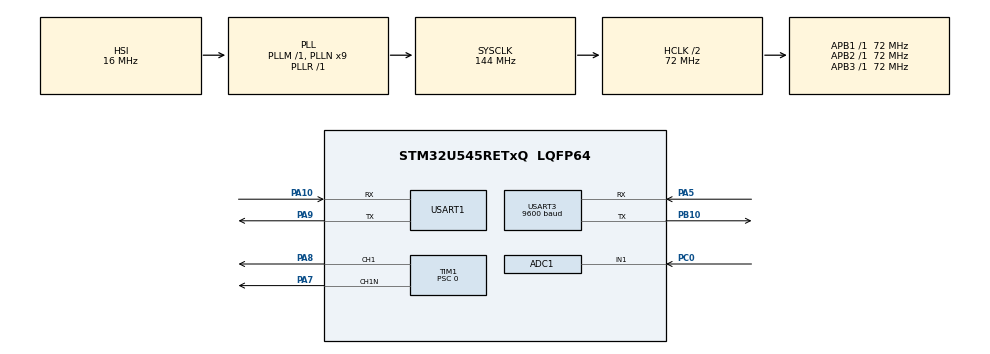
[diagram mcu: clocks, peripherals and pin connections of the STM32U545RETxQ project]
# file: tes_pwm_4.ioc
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ADC1.Channel-0\#ChannelRegularConversion=ADC_CHANNEL_2
ADC1.MonitoredBy-0\#ChannelRegularConversion=__NULL
ADC1.NbrOfConversionFlag=1
ADC1.OffsetNumber-0\#ChannelRegularConversion=ADC_OFFSET_NONE
ADC1.Rank-0\#ChannelRegularConversion=1
ADC1.Resolution=ADC_RESOLUTION_12B
ADC1.SamplingTime-0\#ChannelRegularConversion=ADC_SAMPLETIME_68CYCLES
ADC1.master=1
CORTEX_M33_NS.MPU_Control=__NULL
CORTEX_M33_NS.userName=CORTEX_M33
Mcu.Family=STM32U5
Mcu.Name=STM32U545RETxQ
Mcu.Package=LQFP64
NVIC.PriorityGroup=NVIC_PRIORITYGROUP_4
NVIC.USART1_IRQn=true\:0\:0\:false\:false\:true\:true\:true\:true
NVIC.USART3_IRQn=true\:0\:0\:false\:false\:true\:true\:true\:true
PA10.Mode=Asynchronous
PA10.Signal=USART1_RX
PA13\ (JTMS/SWDIO).Mode=Serial_Wire
PA13\ (JTMS/SWDIO).Signal=DEBUG_JTMS-SWDIO
PA14\ (JTCK/SWCLK).Mode=Serial_Wire
PA14\ (JTCK/SWCLK).Signal=DEBUG_JTCK-SWCLK
PA5.Mode=Asynchronous
PA5.Signal=USART3_RX
PA7.Mode=PWM Generation1 CH1 CH1N
PA7.Signal=TIM1_CH1N
PA8.Signal=S_TIM1_CH1
PA9.Mode=Asynchronous
PA9.Signal=USART1_TX
PB10.Mode=Asynchronous
PB10.Signal=USART3_TX
PC0.Mode=IN1-Single-Ended
PC0.Signal=ADC1_IN1
PC1.Signal=ADC1_IN2
PC14-OSC32_IN\ (PC14).Mode=LSE-External-Oscillator
PC14-OSC32_IN\ (PC14).Signal=RCC_OSC32_IN
PC15-OSC32_OUT\ (PC15).Mode=LSE-External-Oscillator
PC15-OSC32_OUT\ (PC15).Signal=RCC_OSC32_OUT
PWR.PowerMode=PWR_SMPS_SUPPLY
PWR.pwrPrivilege=PWR_PRIVILEGE_NO
ProjectManager.HeapSize=0x200
ProjectManager.StackSize=0x400
ProjectManager.TargetToolchain=STM32CubeIDE
RCC.ADCFreq_Value=16000000
RCC.AHBCLKDivider=RCC_SYSCLK_DIV2
RCC.AHBFreq_Value=72000000
RCC.APB1Freq_Value=72000000
RCC.APB1TimFreq_Value=72000000
RCC.APB2Freq_Value=72000000
RCC.APB2TimFreq_Value=72000000
RCC.APB3Freq_Value=72000000
RCC.CortexFreq_Value=72000000
RCC.DACCLockSelectionVirtual=RCC_DAC1CLKSOURCE_LSI
RCC.DACCLockSelectionVirtualString=RCC_DAC1CLKSOURCE_LSI
RCC.EPOD_VALUE=16000000
RCC.HCLKFreq_Value=72000000
RCC.HSE_VALUE=16000000
RCC.HSI48_VALUE=48000000
RCC.HSI_VALUE=16000000
RCC.LSIDIV_VALUE=32000
RCC.MSIClockRange=RCC_MSIRANGE_0
RCC.MSI_VALUE=48000000
RCC.PLL1R=1
RCC.PLL2FRACN=0
RCC.PLL2Source=RCC_PLLSOURCE_HSI
RCC.PLL3FRACN=0
RCC.PLL3Source=RCC_PLLSOURCE_HSI
RCC.PLLFRACN=0
RCC.PLLN=9
RCC.PLLSourceVirtual=RCC_PLLSOURCE_HSI
RCC.SYSCLKFreq_VALUE=144000000
RCC.SYSCLKSource=RCC_SYSCLKSOURCE_PLLCLK
RCC.USBFreq_Value=48000000
RCC.VCOOutputFreq_Value=144000000
SH.S_TIM1_CH1.0=TIM1_CH1,PWM Generation1 CH1 CH1N
TIM1.AutomaticOutput=TIM_AUTOMATICOUTPUT_ENABLE
TIM1.Break2State=TIM_BREAK2_ENABLE
TIM1.BreakState=TIM_BREAK_ENABLE
TIM1.Channel-PWM\ Generation1\ CH1\ CH1N=TIM_CHANNEL_1
TIM1.DeadTime=72
TIM1.DeadTimePreload=ENABLE
TIM1.OCIdleState_1=TIM_OCIDLESTATE_RESET
TIM1.OCMode_PWM-PWM\ Generation1\ CH1\ CH1N=TIM_OCMODE_PWM1
TIM1.OCNPolarity_1=TIM_OCNPOLARITY_LOW
TIM1.OffStateIDLEMode=TIM_OSSI_ENABLE
TIM1.OffStateRunMode=TIM_OSSR_ENABLE
TIM1.PeriodNoDither=7199
TIM1.Prescaler=0
USART1.VirtualMode-Asynchronous=VM_ASYNC
USART3.BaudRate=9600
USART3.VirtualMode-Asynchronous=VM_ASYNC
VP_ICACHE_VS_ENABLE_ICACHE_MEMORY.Mode=Memoryregions
VP_LPBAMQUEUE_VS_QUEUE.Mode=QUEUEMODE
VP_LPBAM_VS_SIG1.Mode=SmartRun
VP_LPBAM_VS_SIG4.Mode=LPDMA1
VP_MEMORYMAP_VS_MEMORYMAP.Mode=CurAppReg
VP_PWR_VS_LPOM.Mode=PowerOptimisation
VP_PWR_VS_SECSignals.Mode=Security/Privilege
VP_PWR_Vdda.Mode=isolationVdda
VP_TIM1_VS_ClockSourceINT.Mode=Internal
board=custom

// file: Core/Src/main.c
/* USER CODE BEGIN Header */
/**
 ******************************************************************************
 * @file           : main.c
 * @brief          : Main program body
 ******************************************************************************
 * @attention
 *
 * Copyright (c) 2026 STMicroelectronics.
 * All rights reserved.
 *
 * This software is licensed under terms that can be found in the LICENSE file
 * in the root directory of this software component.
 * If no LICENSE file comes with this software, it is provided AS-IS.
 *
 ******************************************************************************
 */
/* USER CODE END Header */
#include "main.h"

/* USER CODE BEGIN Includes */
#include <stdio.h>
#include <string.h>
#include <stdlib.h>
/* USER CODE END Includes */

ADC_HandleTypeDef hadc1;

TIM_HandleTypeDef htim1;

UART_HandleTypeDef huart1;
UART_HandleTypeDef huart3;

/* USER CODE BEGIN PV */
#define ADC_MAX_COUNT          4095.0f
#define ADC_VREF               3.3f
#define SENSOR_DIVIDER_RATIO   (20.0f / (9.79f + 20.0f))
#define SENSOR_VOLTAGE_CAL     0.9838f
#define SENSOR_V_MIN           0.5f
#define SENSOR_V_MAX           4.5f
#define PRESSURE_BAR_MIN       0.0f
#define PRESSURE_BAR_MAX       12.0f
#define PRESSURE_FILTER_ALPHA  0.12f
#define PRESSURE_DEADBAND_BAR  0.01f
#define AC_INPUT_RMS           220.0f

#define TIM1_CLK_HZ            72000000UL
#define PWM_FREQ_MIN_HZ        100U
#define PWM_FREQ_MAX_HZ        50000U
#define PWM_DEFAULT_FREQ_HZ    5000U
#define DUTY_MIN_PERCENT       0.0f
#define DUTY_MAX_PERCENT       95.0f
#define DUTY_DEFAULT_PERCENT   50.0f

#define TELEMETRY_PERIOD_MS    100U
#define JSY_POLL_PERIOD_MS     1000U
#define JSY_DEFAULT_ADDRESS    0x01U
#define JSY_FUNC_READ_HOLDING  0x03U
#define JSY_MEASURE_START_REG  0x0048U
#define JSY_MEASURE_REG_COUNT  6U
#define JSY_RESPONSE_SIZE      (5U + (JSY_MEASURE_REG_COUNT * 2U))
#define JSY_ERR_OK             0U
#define JSY_ERR_TX             1U
#define JSY_ERR_RX_TIMEOUT     2U
#define JSY_ERR_CRC            3U
#define JSY_ERR_HEADER         4U
#define UART_RX_BUFFER_SIZE    96U
#define UART_TX_BUFFER_SIZE    224U

static uint32_t adc_raw = 0;
static uint32_t send_tick = 0;
static uint32_t jsy_poll_tick = 0;
static uint32_t jsy_last_ok_tick = 0;
static uint32_t pwm_freq_hz = PWM_DEFAULT_FREQ_HZ;
static float duty_percent = DUTY_DEFAULT_PERCENT;
static float adc_voltage = 0.0f;
static float sensor_voltage = 0.0f;
static float pressure_bar = 0.0f;
static uint8_t pressure_filter_ready = 0;
static float estimated_output_rms = 0.0f;
static float jsy_voltage_rms = 0.0f;
static float jsy_current_rms = 0.0f;
static float jsy_active_power = 0.0f;
static float jsy_energy_kwh = 0.0f;
static float jsy_power_factor = 0.0f;
static uint8_t jsy_slave_address = JSY_DEFAULT_ADDRESS;
static uint8_t jsy_online = 0;
static uint8_t jsy_last_error = JSY_ERR_RX_TIMEOUT;
static uint16_t jsy_error_count = 0;

static uint8_t uart_rx_byte = 0;
static char uart_rx_buffer[UART_RX_BUFFER_SIZE];
static uint16_t uart_rx_index = 0;
static volatile uint8_t uart_command_ready = 0;
static char uart_command_buffer[UART_RX_BUFFER_SIZE];
static char uart_tx_buffer[UART_TX_BUFFER_SIZE];
/* USER CODE END PV */

void SystemClock_Config(void);
static void SystemPower_Config(void);
static void MX_GPIO_Init(void);
static void MX_TIM1_Init(void);
static void MX_ICACHE_Init(void);
static void MX_ADC1_Init(void);
static void MX_USART1_UART_Init(void);
static void MX_USART3_UART_Init(void);
/* USER CODE BEGIN PFP */
int __io_putchar(int ch) {
	HAL_UART_Transmit(&huart1, (uint8_t*) &ch, 1, 10);
	return ch;
}

static void PWM_Set(uint32_t frequency_hz, float duty_pct);
static void ADC_ReadPressure(void);
static void UART_StartReceiveIT(void);
static void UART_ProcessCommand(const char *command);
static void UART_SendTelemetry(void);
static void JSY_ReadPeriodic(void);
static uint8_t JSY_ReadMeasurements(void);
static void JSY_SetBaudRate(uint32_t baudrate);
static void JSY_ScanBus(void);
static uint16_t Modbus_CRC16(const uint8_t *data, uint16_t length);
static float clamp_float(float value, float min_value, float max_value);
static uint32_t clamp_u32(uint32_t value, uint32_t min_value, uint32_t max_value);
/* USER CODE END PFP */

int main(void)
{

  /* MCU Configuration--------------------------------------------------------*/

  /* Reset of all peripherals, Initializes the Flash interface and the Systick. */
  HAL_Init();

  /* Configure the System Power */
  SystemPower_Config();

  /* Configure the system clock */
  SystemClock_Config();

  /* Initialize all configured peripherals */
  MX_GPIO_Init();
  MX_TIM1_Init();
  MX_ICACHE_Init();
  MX_ADC1_Init();
  MX_USART1_UART_Init();
  MX_USART3_UART_Init();
  /* USER CODE BEGIN 2 */
	PWM_Set(pwm_freq_hz, duty_percent);
	HAL_TIM_PWM_Start(&htim1, TIM_CHANNEL_1);
	HAL_TIMEx_PWMN_Start(&htim1, TIM_CHANNEL_1);

	HAL_ADCEx_Calibration_Start(&hadc1, ADC_CALIB_OFFSET, ADC_SINGLE_ENDED);
	UART_StartReceiveIT();

	HAL_Delay(500);
	snprintf(uart_tx_buffer, sizeof(uart_tx_buffer),
			"READY,PWM_AC_CHOPPER,%.1f,%lu\r\n", duty_percent,
			(unsigned long) pwm_freq_hz);
	HAL_UART_Transmit(&huart1, (uint8_t*) uart_tx_buffer,
			strlen(uart_tx_buffer), 100);
  /* USER CODE END 2 */

  /* Infinite loop */
	while (1) {

    /* USER CODE BEGIN 3 */
		if (uart_command_ready) {
			__disable_irq();
			char command[UART_RX_BUFFER_SIZE];
			strncpy(command, uart_command_buffer, sizeof(command));
			command[sizeof(command) - 1] = '\0';
			uart_command_ready = 0;
			__enable_irq();
			UART_ProcessCommand(command);
		}

		ADC_ReadPressure();
		JSY_ReadPeriodic();

		if ((HAL_GetTick() - send_tick) >= TELEMETRY_PERIOD_MS) {
			send_tick = HAL_GetTick();
			UART_SendTelemetry();
		}

		HAL_Delay(10);
	}
  /* USER CODE END 3 */
}

void SystemClock_Config(void)
{
  RCC_OscInitTypeDef RCC_OscInitStruct = {0};
  RCC_ClkInitTypeDef RCC_ClkInitStruct = {0};

  /** Configure the main internal regulator output voltage
  */
  if (HAL_PWREx_ControlVoltageScaling(PWR_REGULATOR_VOLTAGE_SCALE1) != HAL_OK)
  {
    Error_Handler();
  }

  /** Initializes the CPU, AHB and APB buses clocks
  */
  RCC_OscInitStruct.OscillatorType = RCC_OSCILLATORTYPE_HSI;
  RCC_OscInitStruct.HSIState = RCC_HSI_ON;
  RCC_OscInitStruct.HSICalibrationValue = RCC_HSICALIBRATION_DEFAULT;
  RCC_OscInitStruct.PLL.PLLState = RCC_PLL_ON;
  RCC_OscInitStruct.PLL.PLLSource = RCC_PLLSOURCE_HSI;
  RCC_OscInitStruct.PLL.PLLMBOOST = RCC_PLLMBOOST_DIV1;
  RCC_OscInitStruct.PLL.PLLM = 1;
  RCC_OscInitStruct.PLL.PLLN = 9;
  RCC_OscInitStruct.PLL.PLLP = 2;
  RCC_OscInitStruct.PLL.PLLQ = 2;
  RCC_OscInitStruct.PLL.PLLR = 1;
  RCC_OscInitStruct.PLL.PLLRGE = RCC_PLLVCIRANGE_1;
  RCC_OscInitStruct.PLL.PLLFRACN = 0;
  if (HAL_RCC_OscConfig(&RCC_OscInitStruct) != HAL_OK)
  {
    Error_Handler();
  }

  /** Initializes the CPU, AHB and APB buses clocks
  */
  RCC_ClkInitStruct.ClockType = RCC_CLOCKTYPE_HCLK|RCC_CLOCKTYPE_SYSCLK
                              |RCC_CLOCKTYPE_PCLK1|RCC_CLOCKTYPE_PCLK2
                              |RCC_CLOCKTYPE_PCLK3;
  RCC_ClkInitStruct.SYSCLKSource = RCC_SYSCLKSOURCE_PLLCLK;
  RCC_ClkInitStruct.AHBCLKDivider = RCC_SYSCLK_DIV2;
  RCC_ClkInitStruct.APB1CLKDivider = RCC_HCLK_DIV1;
  RCC_ClkInitStruct.APB2CLKDivider = RCC_HCLK_DIV1;
  RCC_ClkInitStruct.APB3CLKDivider = RCC_HCLK_DIV1;

  if (HAL_RCC_ClockConfig(&RCC_ClkInitStruct, FLASH_LATENCY_2) != HAL_OK)
  {
    Error_Handler();
  }
}

/**
  * @brief Power Configuration
  * @retval None
  */
static void SystemPower_Config(void)
{

  /*
   * Switch to SMPS regulator instead of LDO
   */
  if (HAL_PWREx_ConfigSupply(PWR_SMPS_SUPPLY) != HAL_OK)
  {
    Error_Handler();
  }
}

static void MX_ADC1_Init(void)
{

  ADC_ChannelConfTypeDef sConfig = {0};

  /** Common config
  */
  hadc1.Instance = ADC1;
  hadc1.Init.ClockPrescaler = ADC_CLOCK_ASYNC_DIV1;
  hadc1.Init.Resolution = ADC_RESOLUTION_12B;
  hadc1.Init.GainCompensation = 0;
  hadc1.Init.DataAlign = ADC_DATAALIGN_RIGHT;
  hadc1.Init.ScanConvMode = ADC_SCAN_DISABLE;
  hadc1.Init.EOCSelection = ADC_EOC_SINGLE_CONV;
  hadc1.Init.LowPowerAutoWait = DISABLE;
  hadc1.Init.ContinuousConvMode = DISABLE;
  hadc1.Init.NbrOfConversion = 1;
  hadc1.Init.DiscontinuousConvMode = DISABLE;
  hadc1.Init.ExternalTrigConv = ADC_SOFTWARE_START;
  hadc1.Init.ExternalTrigConvEdge = ADC_EXTERNALTRIGCONVEDGE_NONE;
  hadc1.Init.DMAContinuousRequests = DISABLE;
  hadc1.Init.TriggerFrequencyMode = ADC_TRIGGER_FREQ_HIGH;
  hadc1.Init.Overrun = ADC_OVR_DATA_PRESERVED;
  hadc1.Init.LeftBitShift = ADC_LEFTBITSHIFT_NONE;
  hadc1.Init.ConversionDataManagement = ADC_CONVERSIONDATA_DR;
  hadc1.Init.OversamplingMode = DISABLE;
  if (HAL_ADC_Init(&hadc1) != HAL_OK)
  {
    Error_Handler();
  }

  /** Configure Regular Channel
  */
  sConfig.Channel = ADC_CHANNEL_2;
  sConfig.Rank = ADC_REGULAR_RANK_1;
  sConfig.SamplingTime = ADC_SAMPLETIME_68CYCLES;
  sConfig.SingleDiff = ADC_SINGLE_ENDED;
  sConfig.OffsetNumber = ADC_OFFSET_NONE;
  sConfig.Offset = 0;
  if (HAL_ADC_ConfigChannel(&hadc1, &sConfig) != HAL_OK)
  {
    Error_Handler();
  }

}

static void MX_ICACHE_Init(void)
{

}

static void MX_TIM1_Init(void)
{

  TIM_ClockConfigTypeDef sClockSourceConfig = {0};
  TIM_MasterConfigTypeDef sMasterConfig = {0};
  TIM_OC_InitTypeDef sConfigOC = {0};
  TIM_BreakDeadTimeConfigTypeDef sBreakDeadTimeConfig = {0};

  htim1.Instance = TIM1;
  htim1.Init.Prescaler = 0;
  htim1.Init.CounterMode = TIM_COUNTERMODE_UP;
  htim1.Init.Period = 7199;
  htim1.Init.ClockDivision = TIM_CLOCKDIVISION_DIV1;
  htim1.Init.RepetitionCounter = 0;
  htim1.Init.AutoReloadPreload = TIM_AUTORELOAD_PRELOAD_DISABLE;
  if (HAL_TIM_Base_Init(&htim1) != HAL_OK)
  {
    Error_Handler();
  }
  sClockSourceConfig.ClockSource = TIM_CLOCKSOURCE_INTERNAL;
  if (HAL_TIM_ConfigClockSource(&htim1, &sClockSourceConfig) != HAL_OK)
  {
    Error_Handler();
  }
  if (HAL_TIM_PWM_Init(&htim1) != HAL_OK)
  {
    Error_Handler();
  }
  sMasterConfig.MasterOutputTrigger = TIM_TRGO_RESET;
  sMasterConfig.MasterOutputTrigger2 = TIM_TRGO2_RESET;
  sMasterConfig.MasterSlaveMode = TIM_MASTERSLAVEMODE_DISABLE;
  if (HAL_TIMEx_MasterConfigSynchronization(&htim1, &sMasterConfig) != HAL_OK)
  {
    Error_Handler();
  }
  sConfigOC.OCMode = TIM_OCMODE_PWM1;
  sConfigOC.Pulse = 0;
  sConfigOC.OCPolarity = TIM_OCPOLARITY_HIGH;
  sConfigOC.OCNPolarity = TIM_OCNPOLARITY_HIGH;
  sConfigOC.OCFastMode = TIM_OCFAST_DISABLE;
  sConfigOC.OCIdleState = TIM_OCIDLESTATE_RESET;
  sConfigOC.OCNIdleState = TIM_OCNIDLESTATE_RESET;
  if (HAL_TIM_PWM_ConfigChannel(&htim1, &sConfigOC, TIM_CHANNEL_1) != HAL_OK)
  {
    Error_Handler();
  }
  HAL_TIMEx_EnableDeadTimePreload(&htim1);
  sBreakDeadTimeConfig.OffStateRunMode = TIM_OSSR_ENABLE;
  sBreakDeadTimeConfig.OffStateIDLEMode = TIM_OSSI_ENABLE;
  sBreakDeadTimeConfig.LockLevel = TIM_LOCKLEVEL_OFF;
  sBreakDeadTimeConfig.DeadTime = 108;
  sBreakDeadTimeConfig.BreakState = TIM_BREAK_ENABLE;
  sBreakDeadTimeConfig.BreakPolarity = TIM_BREAKPOLARITY_HIGH;
  sBreakDeadTimeConfig.BreakFilter = 0;
  sBreakDeadTimeConfig.BreakAFMode = TIM_BREAK_AFMODE_INPUT;
  sBreakDeadTimeConfig.Break2State = TIM_BREAK2_ENABLE;
  sBreakDeadTimeConfig.Break2Polarity = TIM_BREAK2POLARITY_HIGH;
  sBreakDeadTimeConfig.Break2Filter = 0;
  sBreakDeadTimeConfig.Break2AFMode = TIM_BREAK_AFMODE_INPUT;
  sBreakDeadTimeConfig.AutomaticOutput = TIM_AUTOMATICOUTPUT_ENABLE;
  if (HAL_TIMEx_ConfigBreakDeadTime(&htim1, &sBreakDeadTimeConfig) != HAL_OK)
  {
    Error_Handler();
  }
  HAL_TIM_MspPostInit(&htim1);

}

static void MX_USART1_UART_Init(void)
{

  huart1.Instance = USART1;
  huart1.Init.BaudRate = 115200;
  huart1.Init.WordLength = UART_WORDLENGTH_8B;
  huart1.Init.StopBits = UART_STOPBITS_1;
  huart1.Init.Parity = UART_PARITY_NONE;
  huart1.Init.Mode = UART_MODE_TX_RX;
  huart1.Init.HwFlowCtl = UART_HWCONTROL_NONE;
  huart1.Init.OverSampling = UART_OVERSAMPLING_16;
  huart1.Init.OneBitSampling = UART_ONE_BIT_SAMPLE_DISABLE;
  huart1.Init.ClockPrescaler = UART_PRESCALER_DIV1;
  huart1.AdvancedInit.AdvFeatureInit = UART_ADVFEATURE_NO_INIT;
  if (HAL_UART_Init(&huart1) != HAL_OK)
  {
    Error_Handler();
  }
  if (HAL_UARTEx_SetTxFifoThreshold(&huart1, UART_TXFIFO_THRESHOLD_1_8) != HAL_OK)
  {
    Error_Handler();
  }
  if (HAL_UARTEx_SetRxFifoThreshold(&huart1, UART_RXFIFO_THRESHOLD_1_8) != HAL_OK)
  {
    Error_Handler();
  }
  if (HAL_UARTEx_DisableFifoMode(&huart1) != HAL_OK)
  {
    Error_Handler();
  }

}

static void MX_USART3_UART_Init(void)
{

  huart3.Instance = USART3;
  huart3.Init.BaudRate = 9600;
  huart3.Init.WordLength = UART_WORDLENGTH_8B;
  huart3.Init.StopBits = UART_STOPBITS_1;
  huart3.Init.Parity = UART_PARITY_NONE;
  huart3.Init.Mode = UART_MODE_TX_RX;
  huart3.Init.HwFlowCtl = UART_HWCONTROL_NONE;
  huart3.Init.OverSampling = UART_OVERSAMPLING_16;
  huart3.Init.OneBitSampling = UART_ONE_BIT_SAMPLE_DISABLE;
  huart3.Init.ClockPrescaler = UART_PRESCALER_DIV1;
  huart3.AdvancedInit.AdvFeatureInit = UART_ADVFEATURE_NO_INIT;
  if (HAL_UART_Init(&huart3) != HAL_OK)
  {
    Error_Handler();
  }
  if (HAL_UARTEx_SetTxFifoThreshold(&huart3, UART_TXFIFO_THRESHOLD_1_8) != HAL_OK)
  {
    Error_Handler();
  }
  if (HAL_UARTEx_SetRxFifoThreshold(&huart3, UART_RXFIFO_THRESHOLD_1_8) != HAL_OK)
  {
    Error_Handler();
  }
  if (HAL_UARTEx_DisableFifoMode(&huart3) != HAL_OK)
  {
    Error_Handler();
  }

}

static void MX_GPIO_Init(void)
{

  /* GPIO Ports Clock Enable */
  __HAL_RCC_GPIOC_CLK_ENABLE();
  __HAL_RCC_GPIOA_CLK_ENABLE();
  __HAL_RCC_GPIOB_CLK_ENABLE();

}

/* USER CODE BEGIN 4 */
static float clamp_float(float value, float min_value, float max_value) {
	if (value < min_value) {
		return min_value;
	}
	if (value > max_value) {
		return max_value;
	}
	return value;
}

static uint32_t clamp_u32(uint32_t value, uint32_t min_value, uint32_t max_value) {
	if (value < min_value) {
		return min_value;
	}
	if (value > max_value) {
		return max_value;
	}
	return value;
}

static void PWM_Set(uint32_t frequency_hz, float duty_pct) {
	frequency_hz = clamp_u32(frequency_hz, PWM_FREQ_MIN_HZ, PWM_FREQ_MAX_HZ);
	duty_pct = clamp_float(duty_pct, DUTY_MIN_PERCENT, DUTY_MAX_PERCENT);

	uint32_t period = TIM1_CLK_HZ / frequency_hz;
	if (period < 2U) {
		period = 2U;
	}
	period -= 1U;

	uint32_t compare = (uint32_t) (((float) (period + 1U) * duty_pct) / 100.0f);
	if (compare > period) {
		compare = period;
	}

	pwm_freq_hz = frequency_hz;
	duty_percent = duty_pct;
	estimated_output_rms = AC_INPUT_RMS * (duty_percent / 100.0f);

	__HAL_TIM_DISABLE(&htim1);
	__HAL_TIM_SET_AUTORELOAD(&htim1, period);
	__HAL_TIM_SET_COMPARE(&htim1, TIM_CHANNEL_1, compare);
	__HAL_TIM_SET_COUNTER(&htim1, 0);
	__HAL_TIM_ENABLE(&htim1);
}

static void ADC_ReadPressure(void) {
	HAL_ADC_Start(&hadc1);
	if (HAL_ADC_PollForConversion(&hadc1, 10) == HAL_OK) {
		adc_raw = HAL_ADC_GetValue(&hadc1);
	}
	HAL_ADC_Stop(&hadc1);

	adc_voltage = ((float) adc_raw / ADC_MAX_COUNT) * ADC_VREF;
	float measured_sensor_voltage = (adc_voltage / SENSOR_DIVIDER_RATIO) * SENSOR_VOLTAGE_CAL;
	float measured_pressure_bar = ((measured_sensor_voltage - SENSOR_V_MIN)
			/ (SENSOR_V_MAX - SENSOR_V_MIN)) * PRESSURE_BAR_MAX;
	measured_pressure_bar = clamp_float(measured_pressure_bar, PRESSURE_BAR_MIN, PRESSURE_BAR_MAX);

	if (pressure_filter_ready == 0U) {
		sensor_voltage = measured_sensor_voltage;
		pressure_bar = measured_pressure_bar;
		pressure_filter_ready = 1U;
	} else {
		sensor_voltage += PRESSURE_FILTER_ALPHA * (measured_sensor_voltage - sensor_voltage);

		float pressure_delta = measured_pressure_bar - pressure_bar;
		float abs_pressure_delta = (pressure_delta < 0.0f) ? -pressure_delta : pressure_delta;
		if (abs_pressure_delta > PRESSURE_DEADBAND_BAR) {
			pressure_bar += PRESSURE_FILTER_ALPHA * pressure_delta;
		}
	}

	pressure_bar = clamp_float(pressure_bar, PRESSURE_BAR_MIN, PRESSURE_BAR_MAX);
}

static uint16_t Modbus_CRC16(const uint8_t *data, uint16_t length) {
	uint16_t crc = 0xFFFFU;

	for (uint16_t i = 0; i < length; i++) {
		crc ^= data[i];
		for (uint8_t bit = 0; bit < 8U; bit++) {
			if ((crc & 0x0001U) != 0U) {
				crc = (uint16_t) ((crc >> 1U) ^ 0xA001U);
			} else {
				crc >>= 1U;
			}
		}
	}

	return crc;
}

static void JSY_ReadPeriodic(void) {
	if ((HAL_GetTick() - jsy_poll_tick) < JSY_POLL_PERIOD_MS) {
		return;
	}

	jsy_poll_tick = HAL_GetTick();
	if (JSY_ReadMeasurements()) {
		jsy_online = 1;
		jsy_last_ok_tick = HAL_GetTick();
	} else {
		jsy_online = 0;
		if (jsy_error_count < UINT16_MAX) {
			jsy_error_count++;
		}
	}
}

static void JSY_SetBaudRate(uint32_t baudrate) {
	HAL_UART_Abort(&huart3);
	HAL_UART_DeInit(&huart3);
	huart3.Init.BaudRate = baudrate;
	if (HAL_UART_Init(&huart3) != HAL_OK) {
		Error_Handler();
	}
}

static void JSY_ScanBus(void) {
	const uint32_t baudrates[] = { 9600U, 4800U, 2400U, 1200U };
	uint8_t original_address = jsy_slave_address;
	uint32_t original_baudrate = huart3.Init.BaudRate;

	jsy_poll_tick = HAL_GetTick();
	HAL_UART_Abort(&huart3);
	HAL_UART_Transmit(&huart1, (uint8_t*) "JSY_SCAN,START\r\n", 16U, 100U);

	for (uint8_t b = 0; b < (sizeof(baudrates) / sizeof(baudrates[0])); b++) {
		JSY_SetBaudRate(baudrates[b]);
		HAL_Delay(20U);

		for (uint8_t address = 1U; address <= 10U; address++) {
			jsy_slave_address = address;
			if (JSY_ReadMeasurements()) {
				snprintf(uart_tx_buffer, sizeof(uart_tx_buffer),
						"JSY_SCAN,FOUND,%lu,%u,%.2f,%.3f,%.3f\r\n",
						(unsigned long) baudrates[b], (unsigned int) address,
						jsy_voltage_rms, jsy_current_rms, jsy_power_factor);
				HAL_UART_Transmit(&huart1, (uint8_t*) uart_tx_buffer,
						strlen(uart_tx_buffer), 100U);
				jsy_online = 1U;
				jsy_last_ok_tick = HAL_GetTick();
				jsy_poll_tick = HAL_GetTick();
				return;
			}
		}
	}

	jsy_slave_address = original_address;
	JSY_SetBaudRate(original_baudrate);
	jsy_poll_tick = HAL_GetTick();
	snprintf(uart_tx_buffer, sizeof(uart_tx_buffer), "JSY_SCAN,NOT_FOUND,%u\r\n",
			(unsigned int) jsy_last_error);
	HAL_UART_Transmit(&huart1, (uint8_t*) uart_tx_buffer,
			strlen(uart_tx_buffer), 100U);
}

static uint8_t JSY_ReadMeasurements(void) {
	uint8_t request[8];
	uint8_t response[JSY_RESPONSE_SIZE];
	uint8_t discard;

	request[0] = jsy_slave_address;
	request[1] = JSY_FUNC_READ_HOLDING;
	request[2] = (uint8_t) (JSY_MEASURE_START_REG >> 8U);
	request[3] = (uint8_t) (JSY_MEASURE_START_REG & 0xFFU);
	request[4] = (uint8_t) (JSY_MEASURE_REG_COUNT >> 8U);
	request[5] = (uint8_t) (JSY_MEASURE_REG_COUNT & 0xFFU);

	uint16_t request_crc = Modbus_CRC16(request, 6U);
	request[6] = (uint8_t) (request_crc & 0xFFU);
	request[7] = (uint8_t) (request_crc >> 8U);

	while (HAL_UART_Receive(&huart3, &discard, 1U, 2U) == HAL_OK) {
	}

	if (HAL_UART_Transmit(&huart3, request, sizeof(request), 200U) != HAL_OK) {
		jsy_last_error = JSY_ERR_TX;
		return 0;
	}

	if (HAL_UART_Receive(&huart3, response, sizeof(response), 250U) != HAL_OK) {
		jsy_last_error = JSY_ERR_RX_TIMEOUT;
		return 0;
	}

	uint16_t received_crc = (uint16_t) response[JSY_RESPONSE_SIZE - 2U]
			| ((uint16_t) response[JSY_RESPONSE_SIZE - 1U] << 8U);
	uint16_t calculated_crc = Modbus_CRC16(response, JSY_RESPONSE_SIZE - 2U);
	if (received_crc != calculated_crc) {
		jsy_last_error = JSY_ERR_CRC;
		return 0;
	}

	if (response[0] != jsy_slave_address
			|| response[1] != JSY_FUNC_READ_HOLDING
			|| response[2] != (JSY_MEASURE_REG_COUNT * 2U)) {
		jsy_last_error = JSY_ERR_HEADER;
		return 0;
	}

	uint16_t regs[JSY_MEASURE_REG_COUNT];
	for (uint8_t i = 0; i < JSY_MEASURE_REG_COUNT; i++) {
		uint8_t offset = (uint8_t) (3U + (i * 2U));
		regs[i] = (uint16_t) (((uint16_t) response[offset] << 8U)
				| response[offset + 1U]);
	}

	jsy_voltage_rms = (float) regs[0] / 100.0f;
	jsy_current_rms = (float) regs[1] / 1000.0f;
	jsy_active_power = (float) regs[2];
	jsy_energy_kwh = (float) (((uint32_t) regs[3] << 16U) | regs[4])
			/ 3200.0f;
	jsy_power_factor = (float) regs[5] / 1000.0f;
	jsy_last_error = JSY_ERR_OK;

	return 1;
}

static void UART_StartReceiveIT(void) {
	HAL_UART_Receive_IT(&huart1, &uart_rx_byte, 1);
}

static void UART_ProcessCommand(const char *command) {
	char local[UART_RX_BUFFER_SIZE];
	strncpy(local, command, sizeof(local));
	local[sizeof(local) - 1] = '\0';

	char *cmd = strtok(local, ", \t");
	if (cmd == NULL) {
		return;
	}

	if (strcmp(cmd, "GET") == 0) {
		UART_SendTelemetry();
		return;
	}

	if (strcmp(cmd, "SCANJSY") == 0) {
		JSY_ScanBus();
		return;
	}

	if (strcmp(cmd, "STOP") == 0) {
		PWM_Set(pwm_freq_hz, 0.0f);
		HAL_UART_Transmit(&huart1, (uint8_t*) "OK,STOP\r\n", 9, 100);
		return;
	}

	if (strcmp(cmd, "SET") != 0) {
		HAL_UART_Transmit(&huart1, (uint8_t*) "ERR,UNKNOWN_CMD\r\n", 17, 100);
		return;
	}

	char *field = strtok(NULL, ", \t");
	char *value = strtok(NULL, ", \t");
	if (field == NULL || value == NULL) {
		HAL_UART_Transmit(&huart1, (uint8_t*) "ERR,BAD_FORMAT\r\n", 16, 100);
		return;
	}

	if (strcmp(field, "DUTY") == 0) {
		float new_duty = strtof(value, NULL);
		PWM_Set(pwm_freq_hz, new_duty);
		snprintf(uart_tx_buffer, sizeof(uart_tx_buffer), "OK,DUTY,%.2f\r\n",
				duty_percent);
		HAL_UART_Transmit(&huart1, (uint8_t*) uart_tx_buffer,
				strlen(uart_tx_buffer), 100);
		return;
	}

	if (strcmp(field, "FREQ") == 0) {
		uint32_t new_freq = (uint32_t) strtoul(value, NULL, 10);
		PWM_Set(new_freq, duty_percent);
		snprintf(uart_tx_buffer, sizeof(uart_tx_buffer), "OK,FREQ,%lu\r\n",
				(unsigned long) pwm_freq_hz);
		HAL_UART_Transmit(&huart1, (uint8_t*) uart_tx_buffer,
				strlen(uart_tx_buffer), 100);
		return;
	}

	if (strcmp(field, "BOTH") == 0) {
		char *freq_value = strtok(NULL, ", \t");
		if (freq_value == NULL) {
			HAL_UART_Transmit(&huart1, (uint8_t*) "ERR,BAD_FORMAT\r\n", 16, 100);
			return;
		}
		float new_duty = strtof(value, NULL);
		uint32_t new_freq = (uint32_t) strtoul(freq_value, NULL, 10);
		PWM_Set(new_freq, new_duty);
		snprintf(uart_tx_buffer, sizeof(uart_tx_buffer), "OK,BOTH,%.2f,%lu\r\n",
				duty_percent, (unsigned long) pwm_freq_hz);
		HAL_UART_Transmit(&huart1, (uint8_t*) uart_tx_buffer,
				strlen(uart_tx_buffer), 100);
		return;
	}

	HAL_UART_Transmit(&huart1, (uint8_t*) "ERR,UNKNOWN_FIELD\r\n", 19, 100);
}

static void UART_SendTelemetry(void) {
	uint32_t adc_mv = (uint32_t) ((adc_voltage * 1000.0f) + 0.5f);
	uint32_t sensor_mv = (uint32_t) ((sensor_voltage * 1000.0f) + 0.5f);
	uint32_t pressure_mbar = (uint32_t) ((pressure_bar * 1000.0f) + 0.5f);
	uint32_t duty_centipercent = (uint32_t) ((duty_percent * 100.0f) + 0.5f);
	uint32_t rms_centivolt = (uint32_t) ((estimated_output_rms * 100.0f) + 0.5f);
	uint32_t jsy_voltage_centivolt = (uint32_t) ((jsy_voltage_rms * 100.0f) + 0.5f);
	uint32_t jsy_current_milliamp = (uint32_t) ((jsy_current_rms * 1000.0f) + 0.5f);
	uint32_t jsy_power_watt = (uint32_t) ((jsy_active_power) + 0.5f);
	uint32_t jsy_power_factor_milli = (uint32_t) ((jsy_power_factor * 1000.0f) + 0.5f);
	uint32_t jsy_energy_wh = (uint32_t) ((jsy_energy_kwh * 1000.0f) + 0.5f);

	snprintf(uart_tx_buffer, sizeof(uart_tx_buffer),
			"DATA,%lu,%u,%lu,%lu,%lu,%lu,%lu,%lu,%u,%lu,%lu,%lu,%lu,%lu,%u\r\n",
			(unsigned long) HAL_GetTick(), (unsigned int) adc_raw,
			(unsigned long) adc_mv, (unsigned long) sensor_mv,
			(unsigned long) pressure_mbar, (unsigned long) duty_centipercent,
			(unsigned long) pwm_freq_hz, (unsigned long) rms_centivolt,
			(unsigned int) jsy_online, (unsigned long) jsy_voltage_centivolt,
			(unsigned long) jsy_current_milliamp, (unsigned long) jsy_power_watt,
			(unsigned long) jsy_power_factor_milli,
			(unsigned long) jsy_energy_wh, (unsigned int) jsy_error_count);
	HAL_UART_Transmit(&huart1, (uint8_t*) uart_tx_buffer,
			strlen(uart_tx_buffer), 100);
}

void HAL_UART_RxCpltCallback(UART_HandleTypeDef *huart) {
	if (huart->Instance == USART1) {
		if (uart_rx_byte == '\n' || uart_rx_byte == '\r') {
			if (uart_rx_index > 0) {
				uart_rx_buffer[uart_rx_index] = '\0';
				strncpy(uart_command_buffer, uart_rx_buffer,
						sizeof(uart_command_buffer));
				uart_command_buffer[sizeof(uart_command_buffer) - 1] = '\0';
				uart_command_ready = 1;
				uart_rx_index = 0;
			}
		} else if (uart_rx_index < (UART_RX_BUFFER_SIZE - 1U)) {
			uart_rx_buffer[uart_rx_index++] = (char) uart_rx_byte;
		} else {
			uart_rx_index = 0;
		}
		HAL_UART_Receive_IT(&huart1, &uart_rx_byte, 1);
	}
}
/* USER CODE END 4 */

void Error_Handler(void)
{
	__disable_irq();
	while (1) {
	}
}
